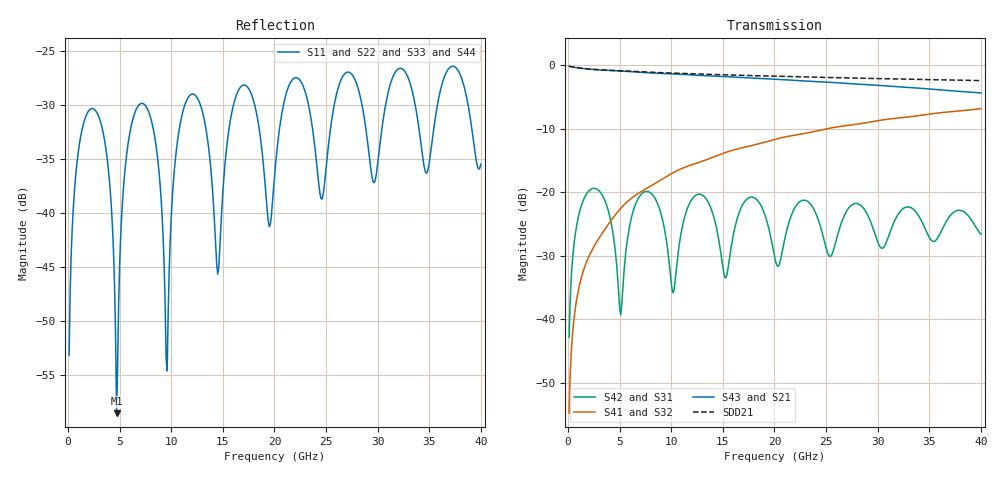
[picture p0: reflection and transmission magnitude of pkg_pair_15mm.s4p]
! modeled coupled pair, 15 mm
# GHZ S RI R 50
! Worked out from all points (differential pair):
!   400 points, 100 MHz to 40 GHz, reference 50 ohm
!   strongest paths, dB at 100 MHz, 10.1 GHz, 20.1 GHz, 30.1 GHz, 40 GHz:
!     S43: -0.1, -1.3, -2.2, -3.1, -4.3
!     S21: -0.1, -1.3, -2.2, -3.1, -4.3
!     S41: -54.8, -17.0, -11.6, -8.7, -6.8
!     S32: -54.8, -17.0, -11.6, -8.7, -6.8
!     S42: -42.8, -35.5, -30.8, -28.2, -26.6
!     S31: -42.8, -35.5, -30.8, -28.2, -26.6
!   taken as a pair (ports 3,1 in; 4,2 out), SDD21 dB: -0.1, -1.2, -1.7, -2.1, -2.4
!   lowest |S11| = -58.5 dB at 4.7 GHz (marker M1), VSWR 1.00, Z = 50.1 - j0.0406 ohm
!   |S11| at or under -10 dB: start of sweep to end of sweep
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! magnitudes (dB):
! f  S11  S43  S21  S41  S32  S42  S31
! 100 MHz  -53.1  -0.1  -0.1  -54.8  -54.8  -42.8  -42.8
! 2.7 GHz  -30.5  -0.7  -0.7  -28.0  -28.0  -19.4  -19.4
! 4.7 GHz  -58.5  -0.8  -0.8  -23.3  -23.3  -31.3  -31.3
! 7 GHz  -29.9  -1.1  -1.1  -19.9  -19.9  -20.5  -20.5
! 9.6 GHz  -54.6  -1.3  -1.3  -17.4  -17.4  -28.4  -28.4
! 11.9 GHz  -29.0  -1.5  -1.5  -15.7  -15.7  -21.3  -21.3
! 40 GHz  -35.4  -4.3  -4.3  -6.8  -6.8  -26.6  -26.6
